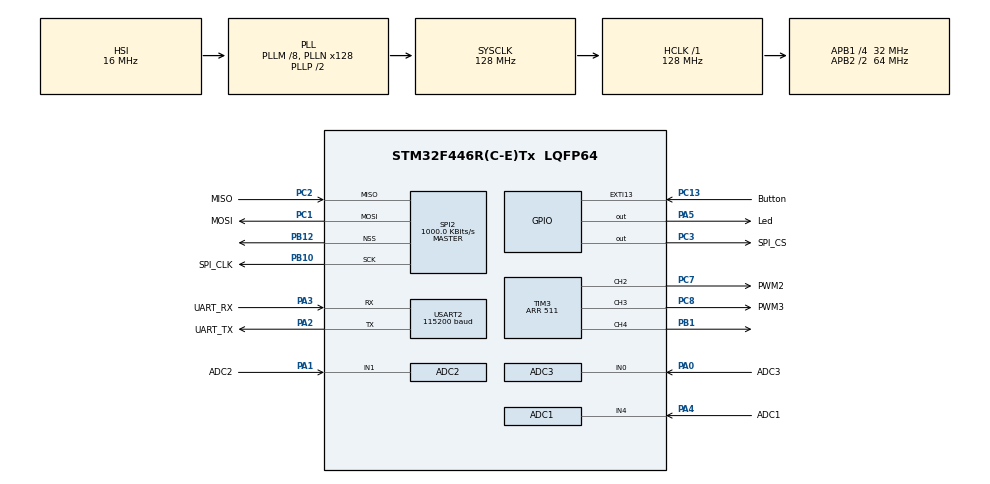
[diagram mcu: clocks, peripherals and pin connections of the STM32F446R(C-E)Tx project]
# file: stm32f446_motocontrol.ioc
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ADC1.Channel-2\#ChannelRegularConversion=ADC_CHANNEL_4
ADC1.ClockPrescaler=ADC_CLOCK_SYNC_PCLK_DIV2
ADC1.ContinuousConvMode=DISABLE
ADC1.DMAContinuousRequests=ENABLE
ADC1.EOCSelection=ADC_EOC_SINGLE_CONV
ADC1.ExternalTrigConv=ADC_EXTERNALTRIGCONV_T3_CC1
ADC1.InjNumberOfConversion=0
ADC1.NbrOfConversion=1
ADC1.NbrOfConversionFlag=1
ADC1.Rank-2\#ChannelRegularConversion=1
ADC1.SamplingTime-2\#ChannelRegularConversion=ADC_SAMPLETIME_3CYCLES
ADC1.ScanConvMode=DISABLE
ADC1.master=1
ADC2.Channel-1\#ChannelRegularConversion=ADC_CHANNEL_1
ADC2.DMAContinuousRequests=ENABLE
ADC2.ExternalTrigConv=ADC_EXTERNALTRIGCONV_T3_CC1
ADC2.NbrOfConversionFlag=1
ADC2.Rank-1\#ChannelRegularConversion=1
ADC2.SamplingTime-1\#ChannelRegularConversion=ADC_SAMPLETIME_3CYCLES
ADC3.Channel-4\#ChannelRegularConversion=ADC_CHANNEL_0
ADC3.DMAContinuousRequests=ENABLE
ADC3.ExternalTrigConv=ADC_EXTERNALTRIGCONV_T3_CC1
ADC3.NbrOfConversionFlag=1
ADC3.Rank-4\#ChannelRegularConversion=1
ADC3.SamplingTime-4\#ChannelRegularConversion=ADC_SAMPLETIME_3CYCLES
Dma.ADC1.0.Direction=DMA_PERIPH_TO_MEMORY
Dma.ADC1.0.FIFOMode=DMA_FIFOMODE_DISABLE
Dma.ADC1.0.Instance=DMA2_Stream0
Dma.ADC1.0.MemDataAlignment=DMA_MDATAALIGN_HALFWORD
Dma.ADC1.0.MemInc=DMA_MINC_ENABLE
Dma.ADC1.0.Mode=DMA_CIRCULAR
Dma.ADC1.0.PeriphDataAlignment=DMA_PDATAALIGN_HALFWORD
Dma.ADC1.0.PeriphInc=DMA_PINC_DISABLE
Dma.ADC1.0.Priority=DMA_PRIORITY_LOW
Dma.ADC2.1.Direction=DMA_PERIPH_TO_MEMORY
Dma.ADC2.1.FIFOMode=DMA_FIFOMODE_DISABLE
Dma.ADC2.1.Instance=DMA2_Stream2
Dma.ADC2.1.MemDataAlignment=DMA_MDATAALIGN_HALFWORD
Dma.ADC2.1.MemInc=DMA_MINC_ENABLE
Dma.ADC2.1.Mode=DMA_CIRCULAR
Dma.ADC2.1.PeriphDataAlignment=DMA_PDATAALIGN_HALFWORD
Dma.ADC2.1.PeriphInc=DMA_PINC_DISABLE
Dma.ADC2.1.Priority=DMA_PRIORITY_LOW
Dma.ADC3.2.Direction=DMA_PERIPH_TO_MEMORY
Dma.ADC3.2.FIFOMode=DMA_FIFOMODE_DISABLE
Dma.ADC3.2.Instance=DMA2_Stream1
Dma.ADC3.2.MemDataAlignment=DMA_MDATAALIGN_HALFWORD
Dma.ADC3.2.MemInc=DMA_MINC_ENABLE
Dma.ADC3.2.Mode=DMA_CIRCULAR
Dma.ADC3.2.PeriphDataAlignment=DMA_PDATAALIGN_HALFWORD
Dma.ADC3.2.PeriphInc=DMA_PINC_DISABLE
Dma.ADC3.2.Priority=DMA_PRIORITY_LOW
Dma.Request0=ADC1
Dma.Request1=ADC2
Dma.Request2=ADC3
Mcu.Family=STM32F4
Mcu.Name=STM32F446R(C-E)Tx
Mcu.Package=LQFP64
NVIC.ADC_IRQn=true\:0\:0\:false\:false\:true\:true\:true\:true
NVIC.DMA2_Stream0_IRQn=true\:0\:0\:false\:false\:true\:false\:true\:true
NVIC.DMA2_Stream1_IRQn=true\:0\:0\:false\:false\:true\:false\:true\:true
NVIC.DMA2_Stream2_IRQn=true\:0\:0\:false\:false\:true\:false\:true\:true
NVIC.PriorityGroup=NVIC_PRIORITYGROUP_0
NVIC.TIM3_IRQn=true\:0\:0\:false\:false\:true\:true\:true\:true
PA0-WKUP.GPIO_Label=ADC3
PA0-WKUP.Signal=ADCx_IN0
PA1.GPIO_Label=ADC2
PA1.Signal=ADCx_IN1
PA13.GPIO_Label=TMS
PA13.Mode=Serial_Wire
PA13.Signal=SYS_JTMS-SWDIO
PA14.GPIO_Label=TCK
PA14.Mode=Serial_Wire
PA14.Signal=SYS_JTCK-SWCLK
PA2.GPIO_Label=UART_TX
PA2.GPIO_ModeDefaultPP=GPIO_MODE_AF_PP
PA2.GPIO_PuPd=GPIO_NOPULL
PA2.GPIO_Speed=GPIO_SPEED_FREQ_VERY_HIGH
PA2.Mode=Asynchronous
PA2.Signal=USART2_TX
PA3.GPIO_Label=UART_RX
PA3.GPIO_ModeDefaultPP=GPIO_MODE_AF_PP
PA3.GPIO_PuPd=GPIO_NOPULL
PA3.GPIO_Speed=GPIO_SPEED_FREQ_VERY_HIGH
PA3.Mode=Asynchronous
PA3.Signal=USART2_RX
PA4.GPIO_Label=ADC1
PA4.Signal=ADCx_IN4
PA5.GPIO_Label=Led
PA5.Signal=GPIO_Output
PB1.Signal=S_TIM3_CH4
PB10.GPIO_Label=SPI_CLK
PB10.Mode=Full_Duplex_Master
PB10.Signal=SPI2_SCK
PB12.Mode=NSS_Signal_Hard_Output
PB12.Signal=SPI2_NSS
PB3.GPIO_Label=SWO
PB3.Signal=SYS_JTDO-SWO
PC1.GPIO_Label=MOSI
PC1.Mode=Full_Duplex_Master
PC1.Signal=SPI2_MOSI
PC13.GPIO_Label=Button
PC13.GPIO_ModeDefaultEXTI=GPIO_MODE_IT_FALLING
PC13.Signal=GPXTI13
PC14-OSC32_IN.Mode=LSE-External-Oscillator
PC14-OSC32_IN.Signal=RCC_OSC32_IN
PC15-OSC32_OUT.Mode=LSE-External-Oscillator
PC15-OSC32_OUT.Signal=RCC_OSC32_OUT
PC2.GPIO_Label=MISO
PC2.Mode=Full_Duplex_Master
PC2.Signal=SPI2_MISO
PC3.GPIO_Label=SPI_CS
PC3.GPIO_Speed=GPIO_SPEED_FREQ_HIGH
PC3.Signal=GPIO_Output
PC6.GPIO_Label=PWM1
PC6.Signal=S_TIM3_CH1
PC7.GPIO_Label=PWM2
PC7.Signal=S_TIM3_CH2
PC8.GPIO_Label=PWM3
PC8.Signal=S_TIM3_CH3
PH0-OSC_IN.Mode=HSE-External-Oscillator
PH0-OSC_IN.Signal=RCC_OSC_IN
PH1-OSC_OUT.Mode=HSE-External-Oscillator
PH1-OSC_OUT.Signal=RCC_OSC_OUT
ProjectManager.HeapSize=0x200
ProjectManager.StackSize=0x400
ProjectManager.TargetToolchain=Makefile
RCC.48MHZClocksFreq_Value=84000000
RCC.AHBFreq_Value=128000000
RCC.APB1CLKDivider=RCC_HCLK_DIV4
RCC.APB1Freq_Value=32000000
RCC.APB1TimFreq_Value=64000000
RCC.APB2CLKDivider=RCC_HCLK_DIV2
RCC.APB2Freq_Value=64000000
RCC.APB2TimFreq_Value=128000000
RCC.CortexFreq_Value=128000000
RCC.FLatency-AdvancedSettings=FLASH_LATENCY_4
RCC.HCLKFreq_Value=128000000
RCC.HSE_VALUE=8000000
RCC.HSI_VALUE=16000000
RCC.PLLM=8
RCC.PLLN=128
RCC.SYSCLKFreq_VALUE=128000000
RCC.SYSCLKSource=RCC_SYSCLKSOURCE_PLLCLK
RCC.USBFreq_Value=128000000
RCC.VCOOutputFreq_Value=256000000
SH.ADCx_IN0.0=ADC3_IN0,IN0
SH.ADCx_IN1.0=ADC2_IN1,IN1
SH.ADCx_IN4.0=ADC1_IN4,IN4
SH.S_TIM3_CH1.0=TIM3_CH1
SH.S_TIM3_CH2.0=TIM3_CH2,PWM Generation2 CH2
SH.S_TIM3_CH3.0=TIM3_CH3,PWM Generation3 CH3
SH.S_TIM3_CH4.0=TIM3_CH4,PWM Generation4 CH4
SPI2.BaudRatePrescaler=SPI_BAUDRATEPRESCALER_32
SPI2.CalculateBaudRate=1000.0 KBits/s
SPI2.DataSize=SPI_DATASIZE_16BIT
SPI2.Direction=SPI_DIRECTION_2LINES
SPI2.Mode=SPI_MODE_MASTER
SPI2.TIMode=SPI_TIMODE_DISABLE
SPI2.VirtualNSS=VM_NSSHARD
SPI2.VirtualType=VM_MASTER
TIM3.Channel-PWM\ Generation1\ No\ Output=TIM_CHANNEL_1
TIM3.Channel-PWM\ Generation2\ CH2=TIM_CHANNEL_2
TIM3.Channel-PWM\ Generation3\ CH3=TIM_CHANNEL_3
TIM3.Channel-PWM\ Generation4\ CH4=TIM_CHANNEL_4
TIM3.CounterMode=TIM_COUNTERMODE_CENTERALIGNED1
TIM3.OCFastMode_PWM-PWM\ Generation3\ CH3=TIM_OCFAST_DISABLE
TIM3.OCMode_PWM-PWM\ Generation3\ CH3=TIM_OCMODE_PWM1
TIM3.OCPolarity_3=TIM_OCPOLARITY_HIGH
TIM3.Period=511
TIM3.Pulse-PWM\ Generation1\ No\ Output=510
TIM3.Pulse-PWM\ Generation2\ CH2=256
TIM3.Pulse-PWM\ Generation3\ CH3=510
TIM3.Pulse-PWM\ Generation4\ CH4=256
USART2.BaudRate=115200
USART2.VirtualMode=VM_ASYNC
VP_TIM3_VS_no_output1.Mode=PWM Generation1 No Output
board=NUCLEO-F446RE

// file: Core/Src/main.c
/* USER CODE BEGIN Header */
/**
  ******************************************************************************
  * @file           : main.c
  * @brief          : Main program body
  ******************************************************************************
  * @attention
  *
  * Copyright (c) 2023 STMicroelectronics.
  * All rights reserved.
  *
  * This software is licensed under terms that can be found in the LICENSE file
  * in the root directory of this software component.
  * If no LICENSE file comes with this software, it is provided AS-IS.
  *
  ******************************************************************************
  */
/* USER CODE END Header */
#include "main.h"
#include "adc.h"
#include "dma.h"
#include "spi.h"
#include "tim.h"
#include "usart.h"
#include "gpio.h"

/* USER CODE BEGIN Includes */
#include <stdio.h>
#include <string.h>
#include "fir.h"
/* USER CODE END Includes */

void SystemClock_Config(void);

int main(void)
{

  /* MCU Configuration--------------------------------------------------------*/

  /* Reset of all peripherals, Initializes the Flash interface and the Systick. */
  HAL_Init();

  /* Configure the system clock */
  SystemClock_Config();

  /* Initialize all configured peripherals */
  MX_GPIO_Init();
  MX_DMA_Init();
  MX_SPI2_Init();
  MX_USART2_UART_Init();
  MX_ADC1_Init();
  MX_ADC2_Init();
  MX_ADC3_Init();
  MX_TIM3_Init();
  /* USER CODE BEGIN 2 */
  HAL_SPI_MspInit(&hspi2);
  uint8_t buf[40];
  HAL_TIM_PWM_Start(&htim3 , TIM_CHANNEL_1);
  HAL_TIM_PWM_Start(&htim3 , TIM_CHANNEL_2);
  HAL_TIM_PWM_Start(&htim3 , TIM_CHANNEL_3);
  HAL_TIM_PWM_Start(&htim3 , TIM_CHANNEL_4);

  uint16_t ADC_ch1[4]={0};
  HAL_ADC_Start_DMA(&hadc1,(uint32_t *)ADC_ch1,4);
  uint16_t ADC_ch2[4]={0};
  HAL_ADC_Start_DMA(&hadc2,(uint32_t *)ADC_ch2,4);
  uint16_t ADC_ch3[4]={0};
  HAL_ADC_Start_DMA(&hadc3,(uint32_t *)ADC_ch3,4);

  /* USER CODE END 2 */

  /* Infinite loop */
  /* USER CODE BEGIN WHILE */
  uint16_t encoder_cmd , encoder_deg;

  int i=0;
  float k=3.3/4096;
  while (1)
  {
    i++;
    encoder_cmd=0x7fff;
    uint16_t temp[3]={0};
    float voltage[3]={0};

    temp[2]=avg_fliter16_t(ADC_ch3,4);
    temp[0]=avg_fliter16_t(ADC_ch1,4);
    temp[1]=avg_fliter16_t(ADC_ch2,4);

    voltage[0]=temp[0]*k;
    voltage[1]=temp[1]*k;
    voltage[2]=temp[2]*k;
    sprintf((char*)buf,"0:%.3f 1:%.3f 2:%.3f\r\n",voltage[0],
           voltage[1],voltage[2]);
    HAL_UART_Transmit(&huart2, buf, strlen((char*)buf), HAL_MAX_DELAY);

    HAL_SPI_TransmitReceive(&hspi2,(uint8_t*)&encoder_cmd,(uint8_t*)&encoder_deg,1,10);
    HAL_Delay(10);

    //HAL_GPIO_WritePin(GPIOC,GPIO_PIN_3,GPIO_PIN_RESET);

    //HAL_GPIO_WritePin(GPIOC,GPIO_PIN_3,GPIO_PIN_SET);

    //int i = 0;
    /*
    while (i<100)
    {
      i++;
      __HAL_TIM_SET_COMPARE(&htim3,TIM_CHANNEL_2,i*10);
      HAL_Delay(10);
    }
    while(i>0){
      i--;

      __HAL_TIM_SET_COMPARE(&htim3,TIM_CHANNEL_2,i*10);
      HAL_Delay(10);
    }
    */
    /* USER CODE END WHILE */

  }
}

void SystemClock_Config(void)
{
  RCC_OscInitTypeDef RCC_OscInitStruct = {0};
  RCC_ClkInitTypeDef RCC_ClkInitStruct = {0};

  /** Configure the main internal regulator output voltage
  */
  __HAL_RCC_PWR_CLK_ENABLE();
  __HAL_PWR_VOLTAGESCALING_CONFIG(PWR_REGULATOR_VOLTAGE_SCALE2);

  /** Initializes the RCC Oscillators according to the specified parameters
  * in the RCC_OscInitTypeDef structure.
  */
  RCC_OscInitStruct.OscillatorType = RCC_OSCILLATORTYPE_HSI;
  RCC_OscInitStruct.HSIState = RCC_HSI_ON;
  RCC_OscInitStruct.HSICalibrationValue = RCC_HSICALIBRATION_DEFAULT;
  RCC_OscInitStruct.PLL.PLLState = RCC_PLL_ON;
  RCC_OscInitStruct.PLL.PLLSource = RCC_PLLSOURCE_HSI;
  RCC_OscInitStruct.PLL.PLLM = 8;
  RCC_OscInitStruct.PLL.PLLN = 128;
  RCC_OscInitStruct.PLL.PLLP = RCC_PLLP_DIV2;
  RCC_OscInitStruct.PLL.PLLQ = 2;
  RCC_OscInitStruct.PLL.PLLR = 2;
  if (HAL_RCC_OscConfig(&RCC_OscInitStruct) != HAL_OK)
  {
    Error_Handler();
  }

  /** Initializes the CPU, AHB and APB buses clocks
  */
  RCC_ClkInitStruct.ClockType = RCC_CLOCKTYPE_HCLK|RCC_CLOCKTYPE_SYSCLK
                              |RCC_CLOCKTYPE_PCLK1|RCC_CLOCKTYPE_PCLK2;
  RCC_ClkInitStruct.SYSCLKSource = RCC_SYSCLKSOURCE_PLLCLK;
  RCC_ClkInitStruct.AHBCLKDivider = RCC_SYSCLK_DIV1;
  RCC_ClkInitStruct.APB1CLKDivider = RCC_HCLK_DIV4;
  RCC_ClkInitStruct.APB2CLKDivider = RCC_HCLK_DIV2;

  if (HAL_RCC_ClockConfig(&RCC_ClkInitStruct, FLASH_LATENCY_4) != HAL_OK)
  {
    Error_Handler();
  }
}

void Error_Handler(void)
{
  __disable_irq();
  while (1)
  {
  }
}
